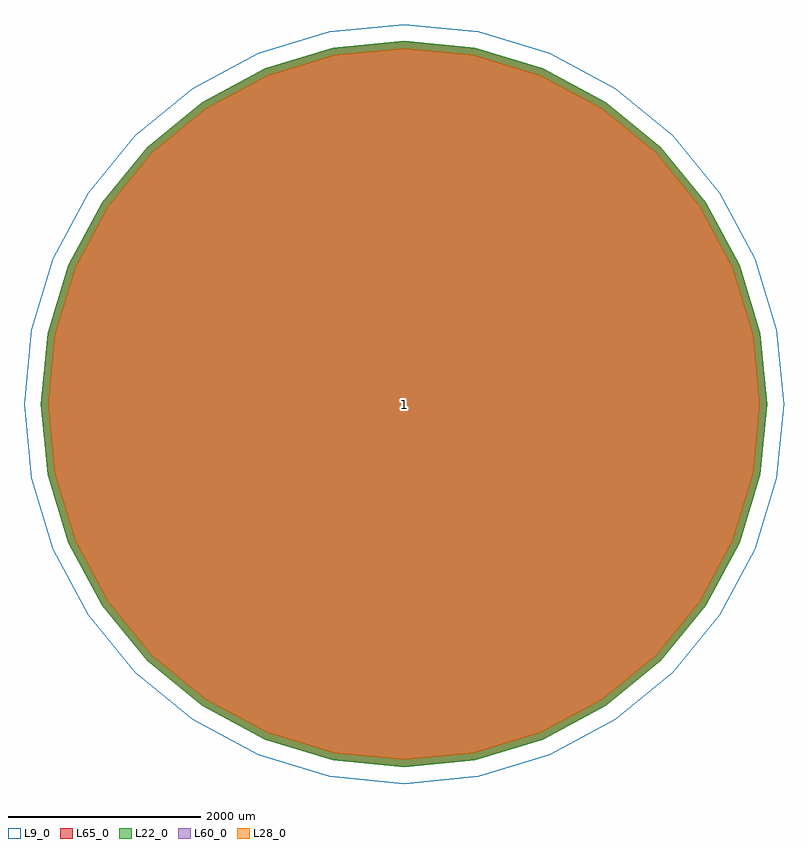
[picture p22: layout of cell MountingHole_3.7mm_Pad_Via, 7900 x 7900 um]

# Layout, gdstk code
import gdstk
lib = gdstk.Library(unit=1e-6, precision=1e-09)
def P(c, l, *ps):  # polygons
    for p in ps: c.add(gdstk.Polygon(p, *l))
L9_0 = (9, 0)
L22_0 = (22, 0)
L28_0 = (28, 0)
L60_0 = (60, 0)
L65_0 = (65, 0)

mountinghole_3_7mm_pad_v = lib.new_cell('MountingHole_3.7mm_Pad_Via')
P(mountinghole_3_7mm_pad_v, L9_0, [(3950,0),(3874.102,770.607),(3649.324,1511.6),(3284.305,2194.502),(2793.072,2793.072),(2194.502,3284.305),(1511.6,3649.324),(770.607,3874.102),(0,3950),(-770.607,3874.102),(-1511.6,3649.324),(-2194.502,3284.305),(-2793.072,2793.072),(-3284.305,2194.502),(-3649.324,1511.6),(-3874.102,770.607),(-3950,0),(-3874.102,-770.607),(-3649.324,-1511.6),(-3284.305,-2194.502),(-2793.072,-2793.072),(-2194.502,-3284.305),(-1511.6,-3649.324),(-770.607,-3874.102),(0,-3950),(770.607,-3874.102),(1511.6,-3649.324),(2194.502,-3284.305),(2793.072,-2793.072),(3284.305,-2194.502),(3649.324,-1511.6),(3874.102,-770.607)],
  [(3700,0),(3628.906,721.834),(3418.354,1415.929),(3076.438,2055.61),(2616.295,2616.295),(2055.61,3076.438),(1415.929,3418.354),(721.834,3628.906),(0,3700),(-721.834,3628.906),(-1415.929,3418.354),(-2055.61,3076.438),(-2616.295,2616.295),(-3076.438,2055.61),(-3418.354,1415.929),(-3628.906,721.834),(-3700,0),(-3628.906,-721.834),(-3418.354,-1415.929),(-3076.438,-2055.61),(-2616.295,-2616.295),(-2055.61,-3076.438),(-1415.929,-3418.354),(-721.834,-3628.906),(0,-3700),(721.834,-3628.906),(1415.929,-3418.354),(2055.61,-3076.438),(2616.295,-2616.295),(3076.438,-2055.61),(3418.354,-1415.929),(3628.906,-721.834)])
P(mountinghole_3_7mm_pad_v, L22_0, [(2337.221,1962.221),(2330.015,2035.38),(2308.676,2105.727),(2274.022,2170.56),(2227.386,2227.386),(2170.56,2274.022),(2105.727,2308.676),(2035.38,2330.015),(1962.221,2337.221),(1889.062,2330.015),(1818.715,2308.676),(1753.882,2274.022),(1697.056,2227.386),(1650.42,2170.56),(1615.766,2105.727),(1594.427,2035.38),(1587.221,1962.221),(1594.427,1889.062),(1615.766,1818.715),(1650.42,1753.882),(1697.056,1697.056),(1753.882,1650.42),(1818.715,1615.766),(1889.062,1594.427),(1962.221,1587.221),(2035.38,1594.427),(2105.727,1615.766),(2170.56,1650.42),(2227.386,1697.056),(2274.022,1753.882),(2308.676,1818.715),(2330.015,1889.062)],
  [(375,2775),(367.794,2848.159),(346.455,2918.506),(311.801,2983.339),(265.165,3040.165),(208.339,3086.801),(143.506,3121.455),(73.159,3142.794),(0,3150),(-73.159,3142.794),(-143.506,3121.455),(-208.339,3086.801),(-265.165,3040.165),(-311.801,2983.339),(-346.455,2918.506),(-367.794,2848.159),(-375,2775),(-367.794,2701.841),(-346.455,2631.494),(-311.801,2566.661),(-265.165,2509.835),(-208.339,2463.199),(-143.506,2428.545),(-73.159,2407.206),(0,2400),(73.159,2407.206),(143.506,2428.545),(208.339,2463.199),(265.165,2509.835),(311.801,2566.661),(346.455,2631.494),(367.794,2701.841)],
  [(-1587.221,1962.221),(-1594.427,2035.38),(-1615.766,2105.727),(-1650.42,2170.56),(-1697.056,2227.386),(-1753.882,2274.022),(-1818.715,2308.676),(-1889.062,2330.015),(-1962.221,2337.221),(-2035.38,2330.015),(-2105.727,2308.676),(-2170.56,2274.022),(-2227.386,2227.386),(-2274.022,2170.56),(-2308.676,2105.727),(-2330.015,2035.38),(-2337.221,1962.221),(-2330.015,1889.062),(-2308.676,1818.715),(-2274.022,1753.882),(-2227.386,1697.056),(-2170.56,1650.42),(-2105.727,1615.766),(-2035.38,1594.427),(-1962.221,1587.221),(-1889.062,1594.427),(-1818.715,1615.766),(-1753.882,1650.42),(-1697.056,1697.056),(-1650.42,1753.882),(-1615.766,1818.715),(-1594.427,1889.062)],
  [(-2400,0),(-2407.206,73.159),(-2428.545,143.506),(-2463.199,208.339),(-2509.835,265.165),(-2566.661,311.801),(-2631.494,346.455),(-2701.841,367.794),(-2775,375),(-2848.159,367.794),(-2918.506,346.455),(-2983.339,311.801),(-3040.165,265.165),(-3086.801,208.339),(-3121.455,143.506),(-3142.794,73.159),(-3150,0),(-3142.794,-73.159),(-3121.455,-143.506),(-3086.801,-208.339),(-3040.165,-265.165),(-2983.339,-311.801),(-2918.506,-346.455),(-2848.159,-367.794),(-2775,-375),(-2701.841,-367.794),(-2631.494,-346.455),(-2566.661,-311.801),(-2509.835,-265.165),(-2463.199,-208.339),(-2428.545,-143.506),(-2407.206,-73.159)],
  [(-1587.221,-1962.221),(-1594.427,-1889.062),(-1615.766,-1818.715),(-1650.42,-1753.882),(-1697.056,-1697.056),(-1753.882,-1650.42),(-1818.715,-1615.766),(-1889.062,-1594.427),(-1962.221,-1587.221),(-2035.38,-1594.427),(-2105.727,-1615.766),(-2170.56,-1650.42),(-2227.386,-1697.056),(-2274.022,-1753.882),(-2308.676,-1818.715),(-2330.015,-1889.062),(-2337.221,-1962.221),(-2330.015,-2035.38),(-2308.676,-2105.727),(-2274.022,-2170.56),(-2227.386,-2227.386),(-2170.56,-2274.022),(-2105.727,-2308.676),(-2035.38,-2330.015),(-1962.221,-2337.221),(-1889.062,-2330.015),(-1818.715,-2308.676),(-1753.882,-2274.022),(-1697.056,-2227.386),(-1650.42,-2170.56),(-1615.766,-2105.727),(-1594.427,-2035.38)],
  [(375,-2775),(367.794,-2701.841),(346.455,-2631.494),(311.801,-2566.661),(265.165,-2509.835),(208.339,-2463.199),(143.506,-2428.545),(73.159,-2407.206),(0,-2400),(-73.159,-2407.206),(-143.506,-2428.545),(-208.339,-2463.199),(-265.165,-2509.835),(-311.801,-2566.661),(-346.455,-2631.494),(-367.794,-2701.841),(-375,-2775),(-367.794,-2848.159),(-346.455,-2918.506),(-311.801,-2983.339),(-265.165,-3040.165),(-208.339,-3086.801),(-143.506,-3121.455),(-73.159,-3142.794),(0,-3150),(73.159,-3142.794),(143.506,-3121.455),(208.339,-3086.801),(265.165,-3040.165),(311.801,-2983.339),(346.455,-2918.506),(367.794,-2848.159)],
  [(2337.221,-1962.221),(2330.015,-1889.062),(2308.676,-1818.715),(2274.022,-1753.882),(2227.386,-1697.056),(2170.56,-1650.42),(2105.727,-1615.766),(2035.38,-1594.427),(1962.221,-1587.221),(1889.062,-1594.427),(1818.715,-1615.766),(1753.882,-1650.42),(1697.056,-1697.056),(1650.42,-1753.882),(1615.766,-1818.715),(1594.427,-1889.062),(1587.221,-1962.221),(1594.427,-2035.38),(1615.766,-2105.727),(1650.42,-2170.56),(1697.056,-2227.386),(1753.882,-2274.022),(1818.715,-2308.676),(1889.062,-2330.015),(1962.221,-2337.221),(2035.38,-2330.015),(2105.727,-2308.676),(2170.56,-2274.022),(2227.386,-2227.386),(2274.022,-2170.56),(2308.676,-2105.727),(2330.015,-2035.38)],
  [(3150,0),(3142.794,73.159),(3121.455,143.506),(3086.801,208.339),(3040.165,265.165),(2983.339,311.801),(2918.506,346.455),(2848.159,367.794),(2775,375),(2701.841,367.794),(2631.494,346.455),(2566.661,311.801),(2509.835,265.165),(2463.199,208.339),(2428.545,143.506),(2407.206,73.159),(2400,0),(2407.206,-73.159),(2428.545,-143.506),(2463.199,-208.339),(2509.835,-265.165),(2566.661,-311.801),(2631.494,-346.455),(2701.841,-367.794),(2775,-375),(2848.159,-367.794),(2918.506,-346.455),(2983.339,-311.801),(3040.165,-265.165),(3086.801,-208.339),(3121.455,-143.506),(3142.794,-73.159)],
  [(3775,0),(3702.464,736.466),(3487.645,1444.63),(3138.798,2097.278),(2669.328,2669.328),(2097.278,3138.798),(1444.63,3487.645),(736.466,3702.464),(0,3775),(-736.466,3702.464),(-1444.63,3487.645),(-2097.278,3138.798),(-2669.328,2669.328),(-3138.798,2097.278),(-3487.645,1444.63),(-3702.464,736.466),(-3775,0),(-3702.464,-736.466),(-3487.645,-1444.63),(-3138.798,-2097.278),(-2669.328,-2669.328),(-2097.278,-3138.798),(-1444.63,-3487.645),(-736.466,-3702.464),(0,-3775),(736.466,-3702.464),(1444.63,-3487.645),(2097.278,-3138.798),(2669.328,-2669.328),(3138.798,-2097.278),(3487.645,-1444.63),(3702.464,-736.466)])
P(mountinghole_3_7mm_pad_v, L28_0, [(2262.221,1962.221),(2256.457,2020.748),(2239.385,2077.026),(2211.662,2128.892),(2174.353,2174.353),(2128.892,2211.662),(2077.026,2239.385),(2020.748,2256.457),(1962.221,2262.221),(1903.694,2256.457),(1847.416,2239.385),(1795.55,2211.662),(1750.089,2174.353),(1712.78,2128.892),(1685.057,2077.026),(1667.985,2020.748),(1662.221,1962.221),(1667.985,1903.694),(1685.057,1847.416),(1712.78,1795.55),(1750.089,1750.089),(1795.55,1712.78),(1847.416,1685.057),(1903.694,1667.985),(1962.221,1662.221),(2020.748,1667.985),(2077.026,1685.057),(2128.892,1712.78),(2174.353,1750.089),(2211.662,1795.55),(2239.385,1847.416),(2256.457,1903.694)],
  [(300,2775),(294.236,2833.527),(277.164,2889.805),(249.441,2941.671),(212.132,2987.132),(166.671,3024.441),(114.805,3052.164),(58.527,3069.236),(0,3075),(-58.527,3069.236),(-114.805,3052.164),(-166.671,3024.441),(-212.132,2987.132),(-249.441,2941.671),(-277.164,2889.805),(-294.236,2833.527),(-300,2775),(-294.236,2716.473),(-277.164,2660.195),(-249.441,2608.329),(-212.132,2562.868),(-166.671,2525.559),(-114.805,2497.836),(-58.527,2480.764),(0,2475),(58.527,2480.764),(114.805,2497.836),(166.671,2525.559),(212.132,2562.868),(249.441,2608.329),(277.164,2660.195),(294.236,2716.473)],
  [(-1662.221,1962.221),(-1667.985,2020.748),(-1685.057,2077.026),(-1712.78,2128.892),(-1750.089,2174.353),(-1795.55,2211.662),(-1847.416,2239.385),(-1903.694,2256.457),(-1962.221,2262.221),(-2020.748,2256.457),(-2077.026,2239.385),(-2128.892,2211.662),(-2174.353,2174.353),(-2211.662,2128.892),(-2239.385,2077.026),(-2256.457,2020.748),(-2262.221,1962.221),(-2256.457,1903.694),(-2239.385,1847.416),(-2211.662,1795.55),(-2174.353,1750.089),(-2128.892,1712.78),(-2077.026,1685.057),(-2020.748,1667.985),(-1962.221,1662.221),(-1903.694,1667.985),(-1847.416,1685.057),(-1795.55,1712.78),(-1750.089,1750.089),(-1712.78,1795.55),(-1685.057,1847.416),(-1667.985,1903.694)],
  [(-2475,0),(-2480.764,58.527),(-2497.836,114.805),(-2525.559,166.671),(-2562.868,212.132),(-2608.329,249.441),(-2660.195,277.164),(-2716.473,294.236),(-2775,300),(-2833.527,294.236),(-2889.805,277.164),(-2941.671,249.441),(-2987.132,212.132),(-3024.441,166.671),(-3052.164,114.805),(-3069.236,58.527),(-3075,0),(-3069.236,-58.527),(-3052.164,-114.805),(-3024.441,-166.671),(-2987.132,-212.132),(-2941.671,-249.441),(-2889.805,-277.164),(-2833.527,-294.236),(-2775,-300),(-2716.473,-294.236),(-2660.195,-277.164),(-2608.329,-249.441),(-2562.868,-212.132),(-2525.559,-166.671),(-2497.836,-114.805),(-2480.764,-58.527)],
  [(-1662.221,-1962.221),(-1667.985,-1903.694),(-1685.057,-1847.416),(-1712.78,-1795.55),(-1750.089,-1750.089),(-1795.55,-1712.78),(-1847.416,-1685.057),(-1903.694,-1667.985),(-1962.221,-1662.221),(-2020.748,-1667.985),(-2077.026,-1685.057),(-2128.892,-1712.78),(-2174.353,-1750.089),(-2211.662,-1795.55),(-2239.385,-1847.416),(-2256.457,-1903.694),(-2262.221,-1962.221),(-2256.457,-2020.748),(-2239.385,-2077.026),(-2211.662,-2128.892),(-2174.353,-2174.353),(-2128.892,-2211.662),(-2077.026,-2239.385),(-2020.748,-2256.457),(-1962.221,-2262.221),(-1903.694,-2256.457),(-1847.416,-2239.385),(-1795.55,-2211.662),(-1750.089,-2174.353),(-1712.78,-2128.892),(-1685.057,-2077.026),(-1667.985,-2020.748)],
  [(300,-2775),(294.236,-2716.473),(277.164,-2660.195),(249.441,-2608.329),(212.132,-2562.868),(166.671,-2525.559),(114.805,-2497.836),(58.527,-2480.764),(0,-2475),(-58.527,-2480.764),(-114.805,-2497.836),(-166.671,-2525.559),(-212.132,-2562.868),(-249.441,-2608.329),(-277.164,-2660.195),(-294.236,-2716.473),(-300,-2775),(-294.236,-2833.527),(-277.164,-2889.805),(-249.441,-2941.671),(-212.132,-2987.132),(-166.671,-3024.441),(-114.805,-3052.164),(-58.527,-3069.236),(0,-3075),(58.527,-3069.236),(114.805,-3052.164),(166.671,-3024.441),(212.132,-2987.132),(249.441,-2941.671),(277.164,-2889.805),(294.236,-2833.527)],
  [(2262.221,-1962.221),(2256.457,-1903.694),(2239.385,-1847.416),(2211.662,-1795.55),(2174.353,-1750.089),(2128.892,-1712.78),(2077.026,-1685.057),(2020.748,-1667.985),(1962.221,-1662.221),(1903.694,-1667.985),(1847.416,-1685.057),(1795.55,-1712.78),(1750.089,-1750.089),(1712.78,-1795.55),(1685.057,-1847.416),(1667.985,-1903.694),(1662.221,-1962.221),(1667.985,-2020.748),(1685.057,-2077.026),(1712.78,-2128.892),(1750.089,-2174.353),(1795.55,-2211.662),(1847.416,-2239.385),(1903.694,-2256.457),(1962.221,-2262.221),(2020.748,-2256.457),(2077.026,-2239.385),(2128.892,-2211.662),(2174.353,-2174.353),(2211.662,-2128.892),(2239.385,-2077.026),(2256.457,-2020.748)],
  [(3075,0),(3069.236,58.527),(3052.164,114.805),(3024.441,166.671),(2987.132,212.132),(2941.671,249.441),(2889.805,277.164),(2833.527,294.236),(2775,300),(2716.473,294.236),(2660.195,277.164),(2608.329,249.441),(2562.868,212.132),(2525.559,166.671),(2497.836,114.805),(2480.764,58.527),(2475,0),(2480.764,-58.527),(2497.836,-114.805),(2525.559,-166.671),(2562.868,-212.132),(2608.329,-249.441),(2660.195,-277.164),(2716.473,-294.236),(2775,-300),(2833.527,-294.236),(2889.805,-277.164),(2941.671,-249.441),(2987.132,-212.132),(3024.441,-166.671),(3052.164,-114.805),(3069.236,-58.527)],
  [(3700,0),(3628.906,721.834),(3418.354,1415.929),(3076.438,2055.61),(2616.295,2616.295),(2055.61,3076.438),(1415.929,3418.354),(721.834,3628.906),(0,3700),(-721.834,3628.906),(-1415.929,3418.354),(-2055.61,3076.438),(-2616.295,2616.295),(-3076.438,2055.61),(-3418.354,1415.929),(-3628.906,721.834),(-3700,0),(-3628.906,-721.834),(-3418.354,-1415.929),(-3076.438,-2055.61),(-2616.295,-2616.295),(-2055.61,-3076.438),(-1415.929,-3418.354),(-721.834,-3628.906),(0,-3700),(721.834,-3628.906),(1415.929,-3418.354),(2055.61,-3076.438),(2616.295,-2616.295),(3076.438,-2055.61),(3418.354,-1415.929),(3628.906,-721.834)])
P(mountinghole_3_7mm_pad_v, L60_0, [(2262.221,1962.221),(2256.457,2020.748),(2239.385,2077.026),(2211.662,2128.892),(2174.353,2174.353),(2128.892,2211.662),(2077.026,2239.385),(2020.748,2256.457),(1962.221,2262.221),(1903.694,2256.457),(1847.416,2239.385),(1795.55,2211.662),(1750.089,2174.353),(1712.78,2128.892),(1685.057,2077.026),(1667.985,2020.748),(1662.221,1962.221),(1667.985,1903.694),(1685.057,1847.416),(1712.78,1795.55),(1750.089,1750.089),(1795.55,1712.78),(1847.416,1685.057),(1903.694,1667.985),(1962.221,1662.221),(2020.748,1667.985),(2077.026,1685.057),(2128.892,1712.78),(2174.353,1750.089),(2211.662,1795.55),(2239.385,1847.416),(2256.457,1903.694)],
  [(300,2775),(294.236,2833.527),(277.164,2889.805),(249.441,2941.671),(212.132,2987.132),(166.671,3024.441),(114.805,3052.164),(58.527,3069.236),(0,3075),(-58.527,3069.236),(-114.805,3052.164),(-166.671,3024.441),(-212.132,2987.132),(-249.441,2941.671),(-277.164,2889.805),(-294.236,2833.527),(-300,2775),(-294.236,2716.473),(-277.164,2660.195),(-249.441,2608.329),(-212.132,2562.868),(-166.671,2525.559),(-114.805,2497.836),(-58.527,2480.764),(0,2475),(58.527,2480.764),(114.805,2497.836),(166.671,2525.559),(212.132,2562.868),(249.441,2608.329),(277.164,2660.195),(294.236,2716.473)],
  [(-1662.221,1962.221),(-1667.985,2020.748),(-1685.057,2077.026),(-1712.78,2128.892),(-1750.089,2174.353),(-1795.55,2211.662),(-1847.416,2239.385),(-1903.694,2256.457),(-1962.221,2262.221),(-2020.748,2256.457),(-2077.026,2239.385),(-2128.892,2211.662),(-2174.353,2174.353),(-2211.662,2128.892),(-2239.385,2077.026),(-2256.457,2020.748),(-2262.221,1962.221),(-2256.457,1903.694),(-2239.385,1847.416),(-2211.662,1795.55),(-2174.353,1750.089),(-2128.892,1712.78),(-2077.026,1685.057),(-2020.748,1667.985),(-1962.221,1662.221),(-1903.694,1667.985),(-1847.416,1685.057),(-1795.55,1712.78),(-1750.089,1750.089),(-1712.78,1795.55),(-1685.057,1847.416),(-1667.985,1903.694)],
  [(-2475,0),(-2480.764,58.527),(-2497.836,114.805),(-2525.559,166.671),(-2562.868,212.132),(-2608.329,249.441),(-2660.195,277.164),(-2716.473,294.236),(-2775,300),(-2833.527,294.236),(-2889.805,277.164),(-2941.671,249.441),(-2987.132,212.132),(-3024.441,166.671),(-3052.164,114.805),(-3069.236,58.527),(-3075,0),(-3069.236,-58.527),(-3052.164,-114.805),(-3024.441,-166.671),(-2987.132,-212.132),(-2941.671,-249.441),(-2889.805,-277.164),(-2833.527,-294.236),(-2775,-300),(-2716.473,-294.236),(-2660.195,-277.164),(-2608.329,-249.441),(-2562.868,-212.132),(-2525.559,-166.671),(-2497.836,-114.805),(-2480.764,-58.527)],
  [(-1662.221,-1962.221),(-1667.985,-1903.694),(-1685.057,-1847.416),(-1712.78,-1795.55),(-1750.089,-1750.089),(-1795.55,-1712.78),(-1847.416,-1685.057),(-1903.694,-1667.985),(-1962.221,-1662.221),(-2020.748,-1667.985),(-2077.026,-1685.057),(-2128.892,-1712.78),(-2174.353,-1750.089),(-2211.662,-1795.55),(-2239.385,-1847.416),(-2256.457,-1903.694),(-2262.221,-1962.221),(-2256.457,-2020.748),(-2239.385,-2077.026),(-2211.662,-2128.892),(-2174.353,-2174.353),(-2128.892,-2211.662),(-2077.026,-2239.385),(-2020.748,-2256.457),(-1962.221,-2262.221),(-1903.694,-2256.457),(-1847.416,-2239.385),(-1795.55,-2211.662),(-1750.089,-2174.353),(-1712.78,-2128.892),(-1685.057,-2077.026),(-1667.985,-2020.748)],
  [(300,-2775),(294.236,-2716.473),(277.164,-2660.195),(249.441,-2608.329),(212.132,-2562.868),(166.671,-2525.559),(114.805,-2497.836),(58.527,-2480.764),(0,-2475),(-58.527,-2480.764),(-114.805,-2497.836),(-166.671,-2525.559),(-212.132,-2562.868),(-249.441,-2608.329),(-277.164,-2660.195),(-294.236,-2716.473),(-300,-2775),(-294.236,-2833.527),(-277.164,-2889.805),(-249.441,-2941.671),(-212.132,-2987.132),(-166.671,-3024.441),(-114.805,-3052.164),(-58.527,-3069.236),(0,-3075),(58.527,-3069.236),(114.805,-3052.164),(166.671,-3024.441),(212.132,-2987.132),(249.441,-2941.671),(277.164,-2889.805),(294.236,-2833.527)],
  [(2262.221,-1962.221),(2256.457,-1903.694),(2239.385,-1847.416),(2211.662,-1795.55),(2174.353,-1750.089),(2128.892,-1712.78),(2077.026,-1685.057),(2020.748,-1667.985),(1962.221,-1662.221),(1903.694,-1667.985),(1847.416,-1685.057),(1795.55,-1712.78),(1750.089,-1750.089),(1712.78,-1795.55),(1685.057,-1847.416),(1667.985,-1903.694),(1662.221,-1962.221),(1667.985,-2020.748),(1685.057,-2077.026),(1712.78,-2128.892),(1750.089,-2174.353),(1795.55,-2211.662),(1847.416,-2239.385),(1903.694,-2256.457),(1962.221,-2262.221),(2020.748,-2256.457),(2077.026,-2239.385),(2128.892,-2211.662),(2174.353,-2174.353),(2211.662,-2128.892),(2239.385,-2077.026),(2256.457,-2020.748)],
  [(3075,0),(3069.236,58.527),(3052.164,114.805),(3024.441,166.671),(2987.132,212.132),(2941.671,249.441),(2889.805,277.164),(2833.527,294.236),(2775,300),(2716.473,294.236),(2660.195,277.164),(2608.329,249.441),(2562.868,212.132),(2525.559,166.671),(2497.836,114.805),(2480.764,58.527),(2475,0),(2480.764,-58.527),(2497.836,-114.805),(2525.559,-166.671),(2562.868,-212.132),(2608.329,-249.441),(2660.195,-277.164),(2716.473,-294.236),(2775,-300),(2833.527,-294.236),(2889.805,-277.164),(2941.671,-249.441),(2987.132,-212.132),(3024.441,-166.671),(3052.164,-114.805),(3069.236,-58.527)],
  [(3700,0),(3628.906,721.834),(3418.354,1415.929),(3076.438,2055.61),(2616.295,2616.295),(2055.61,3076.438),(1415.929,3418.354),(721.834,3628.906),(0,3700),(-721.834,3628.906),(-1415.929,3418.354),(-2055.61,3076.438),(-2616.295,2616.295),(-3076.438,2055.61),(-3418.354,1415.929),(-3628.906,721.834),(-3700,0),(-3628.906,-721.834),(-3418.354,-1415.929),(-3076.438,-2055.61),(-2616.295,-2616.295),(-2055.61,-3076.438),(-1415.929,-3418.354),(-721.834,-3628.906),(0,-3700),(721.834,-3628.906),(1415.929,-3418.354),(2055.61,-3076.438),(2616.295,-2616.295),(3076.438,-2055.61),(3418.354,-1415.929),(3628.906,-721.834)])
P(mountinghole_3_7mm_pad_v, L65_0, [(2337.221,1962.221),(2330.015,2035.38),(2308.676,2105.727),(2274.022,2170.56),(2227.386,2227.386),(2170.56,2274.022),(2105.727,2308.676),(2035.38,2330.015),(1962.221,2337.221),(1889.062,2330.015),(1818.715,2308.676),(1753.882,2274.022),(1697.056,2227.386),(1650.42,2170.56),(1615.766,2105.727),(1594.427,2035.38),(1587.221,1962.221),(1594.427,1889.062),(1615.766,1818.715),(1650.42,1753.882),(1697.056,1697.056),(1753.882,1650.42),(1818.715,1615.766),(1889.062,1594.427),(1962.221,1587.221),(2035.38,1594.427),(2105.727,1615.766),(2170.56,1650.42),(2227.386,1697.056),(2274.022,1753.882),(2308.676,1818.715),(2330.015,1889.062)],
  [(375,2775),(367.794,2848.159),(346.455,2918.506),(311.801,2983.339),(265.165,3040.165),(208.339,3086.801),(143.506,3121.455),(73.159,3142.794),(0,3150),(-73.159,3142.794),(-143.506,3121.455),(-208.339,3086.801),(-265.165,3040.165),(-311.801,2983.339),(-346.455,2918.506),(-367.794,2848.159),(-375,2775),(-367.794,2701.841),(-346.455,2631.494),(-311.801,2566.661),(-265.165,2509.835),(-208.339,2463.199),(-143.506,2428.545),(-73.159,2407.206),(0,2400),(73.159,2407.206),(143.506,2428.545),(208.339,2463.199),(265.165,2509.835),(311.801,2566.661),(346.455,2631.494),(367.794,2701.841)],
  [(-1587.221,1962.221),(-1594.427,2035.38),(-1615.766,2105.727),(-1650.42,2170.56),(-1697.056,2227.386),(-1753.882,2274.022),(-1818.715,2308.676),(-1889.062,2330.015),(-1962.221,2337.221),(-2035.38,2330.015),(-2105.727,2308.676),(-2170.56,2274.022),(-2227.386,2227.386),(-2274.022,2170.56),(-2308.676,2105.727),(-2330.015,2035.38),(-2337.221,1962.221),(-2330.015,1889.062),(-2308.676,1818.715),(-2274.022,1753.882),(-2227.386,1697.056),(-2170.56,1650.42),(-2105.727,1615.766),(-2035.38,1594.427),(-1962.221,1587.221),(-1889.062,1594.427),(-1818.715,1615.766),(-1753.882,1650.42),(-1697.056,1697.056),(-1650.42,1753.882),(-1615.766,1818.715),(-1594.427,1889.062)],
  [(-2400,0),(-2407.206,73.159),(-2428.545,143.506),(-2463.199,208.339),(-2509.835,265.165),(-2566.661,311.801),(-2631.494,346.455),(-2701.841,367.794),(-2775,375),(-2848.159,367.794),(-2918.506,346.455),(-2983.339,311.801),(-3040.165,265.165),(-3086.801,208.339),(-3121.455,143.506),(-3142.794,73.159),(-3150,0),(-3142.794,-73.159),(-3121.455,-143.506),(-3086.801,-208.339),(-3040.165,-265.165),(-2983.339,-311.801),(-2918.506,-346.455),(-2848.159,-367.794),(-2775,-375),(-2701.841,-367.794),(-2631.494,-346.455),(-2566.661,-311.801),(-2509.835,-265.165),(-2463.199,-208.339),(-2428.545,-143.506),(-2407.206,-73.159)],
  [(-1587.221,-1962.221),(-1594.427,-1889.062),(-1615.766,-1818.715),(-1650.42,-1753.882),(-1697.056,-1697.056),(-1753.882,-1650.42),(-1818.715,-1615.766),(-1889.062,-1594.427),(-1962.221,-1587.221),(-2035.38,-1594.427),(-2105.727,-1615.766),(-2170.56,-1650.42),(-2227.386,-1697.056),(-2274.022,-1753.882),(-2308.676,-1818.715),(-2330.015,-1889.062),(-2337.221,-1962.221),(-2330.015,-2035.38),(-2308.676,-2105.727),(-2274.022,-2170.56),(-2227.386,-2227.386),(-2170.56,-2274.022),(-2105.727,-2308.676),(-2035.38,-2330.015),(-1962.221,-2337.221),(-1889.062,-2330.015),(-1818.715,-2308.676),(-1753.882,-2274.022),(-1697.056,-2227.386),(-1650.42,-2170.56),(-1615.766,-2105.727),(-1594.427,-2035.38)],
  [(375,-2775),(367.794,-2701.841),(346.455,-2631.494),(311.801,-2566.661),(265.165,-2509.835),(208.339,-2463.199),(143.506,-2428.545),(73.159,-2407.206),(0,-2400),(-73.159,-2407.206),(-143.506,-2428.545),(-208.339,-2463.199),(-265.165,-2509.835),(-311.801,-2566.661),(-346.455,-2631.494),(-367.794,-2701.841),(-375,-2775),(-367.794,-2848.159),(-346.455,-2918.506),(-311.801,-2983.339),(-265.165,-3040.165),(-208.339,-3086.801),(-143.506,-3121.455),(-73.159,-3142.794),(0,-3150),(73.159,-3142.794),(143.506,-3121.455),(208.339,-3086.801),(265.165,-3040.165),(311.801,-2983.339),(346.455,-2918.506),(367.794,-2848.159)],
  [(2337.221,-1962.221),(2330.015,-1889.062),(2308.676,-1818.715),(2274.022,-1753.882),(2227.386,-1697.056),(2170.56,-1650.42),(2105.727,-1615.766),(2035.38,-1594.427),(1962.221,-1587.221),(1889.062,-1594.427),(1818.715,-1615.766),(1753.882,-1650.42),(1697.056,-1697.056),(1650.42,-1753.882),(1615.766,-1818.715),(1594.427,-1889.062),(1587.221,-1962.221),(1594.427,-2035.38),(1615.766,-2105.727),(1650.42,-2170.56),(1697.056,-2227.386),(1753.882,-2274.022),(1818.715,-2308.676),(1889.062,-2330.015),(1962.221,-2337.221),(2035.38,-2330.015),(2105.727,-2308.676),(2170.56,-2274.022),(2227.386,-2227.386),(2274.022,-2170.56),(2308.676,-2105.727),(2330.015,-2035.38)],
  [(3150,0),(3142.794,73.159),(3121.455,143.506),(3086.801,208.339),(3040.165,265.165),(2983.339,311.801),(2918.506,346.455),(2848.159,367.794),(2775,375),(2701.841,367.794),(2631.494,346.455),(2566.661,311.801),(2509.835,265.165),(2463.199,208.339),(2428.545,143.506),(2407.206,73.159),(2400,0),(2407.206,-73.159),(2428.545,-143.506),(2463.199,-208.339),(2509.835,-265.165),(2566.661,-311.801),(2631.494,-346.455),(2701.841,-367.794),(2775,-375),(2848.159,-367.794),(2918.506,-346.455),(2983.339,-311.801),(3040.165,-265.165),(3086.801,-208.339),(3121.455,-143.506),(3142.794,-73.159)],
  [(3775,0),(3702.464,736.466),(3487.645,1444.63),(3138.798,2097.278),(2669.328,2669.328),(2097.278,3138.798),(1444.63,3487.645),(736.466,3702.464),(0,3775),(-736.466,3702.464),(-1444.63,3487.645),(-2097.278,3138.798),(-2669.328,2669.328),(-3138.798,2097.278),(-3487.645,1444.63),(-3702.464,736.466),(-3775,0),(-3702.464,-736.466),(-3487.645,-1444.63),(-3138.798,-2097.278),(-2669.328,-2669.328),(-2097.278,-3138.798),(-1444.63,-3487.645),(-736.466,-3702.464),(0,-3775),(736.466,-3702.464),(1444.63,-3487.645),(2097.278,-3138.798),(2669.328,-2669.328),(3138.798,-2097.278),(3487.645,-1444.63),(3702.464,-736.466)])
mountinghole_3_7mm_pad_v.add(gdstk.Label('1', (0,0), layer=28, texttype=0))
mountinghole_3_7mm_pad_v.add(gdstk.Label('type', (0,-4700), layer=9, texttype=0))
mountinghole_3_7mm_pad_v.add(gdstk.Label('devicename', (0,4700), layer=9, texttype=0))

lib.write_gds('MountingHole_3.7mm_Pad_Via.gds')
